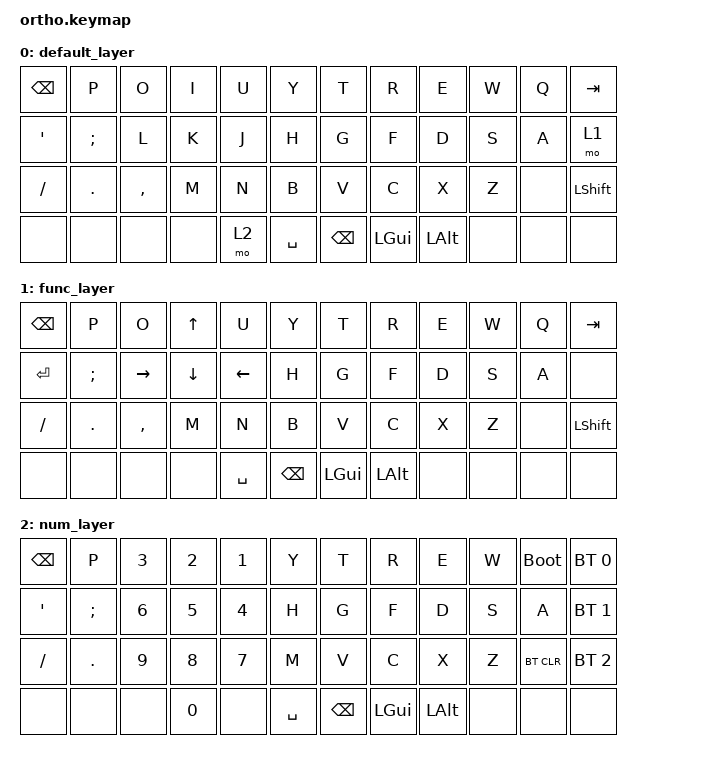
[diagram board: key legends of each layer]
/*
 * Copyright (c) 2020 The ZMK Contributors
 *
 * SPDX-License-Identifier: MIT
 */

#include <behaviors.dtsi>
#include <dt-bindings/zmk/keys.h>
#include <dt-bindings/zmk/bt.h>

/ {
    keymaps {
        compatible = "zmk,keymap";

        default_layer {
            bindings = <
                &kp BSPC   &kp P   &kp O   &kp I   &kp U   &kp Y   &kp T   &kp R   &kp E   &kp W   &kp Q   &kp TAB
                &kp SQT   &kp SEMI   &kp L   &kp K   &kp J   &kp H   &kp G   &kp F   &kp D   &kp S   &kp A   &mo 1
                &kp SLASH   &kp PERIOD   &kp COMMA   &kp M   &kp N   &kp B   &kp V   &kp C   &kp X   &kp Z   &none   &kp LSHIFT 
                &none   &none   &none   &none   &mo 2   &kp SPACE   &kp BSPC   &kp LEFT_GUI   &kp LALT   &none   &none   &none
            >;
        };

        func_layer {
            bindings = <
                &kp BSPC   &kp P   &kp O   &kp UP   &kp U   &kp Y   &kp T   &kp R   &kp E   &kp W   &kp Q   &kp TAB
                &kp ENTER   &kp SEMI   &kp RIGHT   &kp DOWN   &kp LEFT   &kp H   &kp G   &kp F   &kp D   &kp S   &kp A   &none
                &kp SLASH   &kp PERIOD   &kp COMMA   &kp M   &kp N   &kp B   &kp V   &kp C   &kp X   &kp Z   &none   &kp LSHIFT 
                &none   &none   &none   &none   &kp SPACE   &kp BSPC   &kp LEFT_GUI   &kp LALT   &none   &none   &none   &none
            >;
        };

        num_layer {
            bindings = <
                &kp BSPC   &kp P   &kp N3   &kp N2   &kp N1   &kp Y   &kp T   &kp R   &kp E   &kp W   &bootloader   &bt BT_SEL 0
                &kp SQT   &kp SEMI   &kp N6   &kp N5   &kp N4   &kp H   &kp G   &kp F   &kp D   &kp S   &kp A   &bt BT_SEL 1
                &kp SLASH   &kp PERIOD   &kp N9   &kp N8   &kp N7   &kp M   &kp V   &kp C   &kp X   &kp Z   &bt BT_CLR   &bt BT_SEL 2 
                &none   &none   &none   &kp N0   &none   &kp SPACE   &kp BSPC   &kp LEFT_GUI   &kp LALT   &none   &none   &none
            >;
        };
        
    };
    combos {
        compatible = "zmk,combos";
        combo_esc {
            timeout-ms = <500>;
            key-positions = <10 11>;
            bindings = <&kp ESC>;
        };
        combo_enter {
            timeout-ms = <500>;
            key-positions = <14 15 16>;
            bindings = <&kp ENTER>;
        };
        combo_backspace {
            timeout-ms = <500>;
            key-positions = <26 27 28>;
            bindings = <&kp BSPC>;
        };
        combo_lshift {
            timeout-ms = <500>;
            key-positions = <19 20>;
            bindings = <&kp LSHIFT>;
        };
        combo_rshift {
            timeout-ms = <500>;
            key-positions = <15 16>;
            bindings = <&kp RSHIFT>;
        };
    };
};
